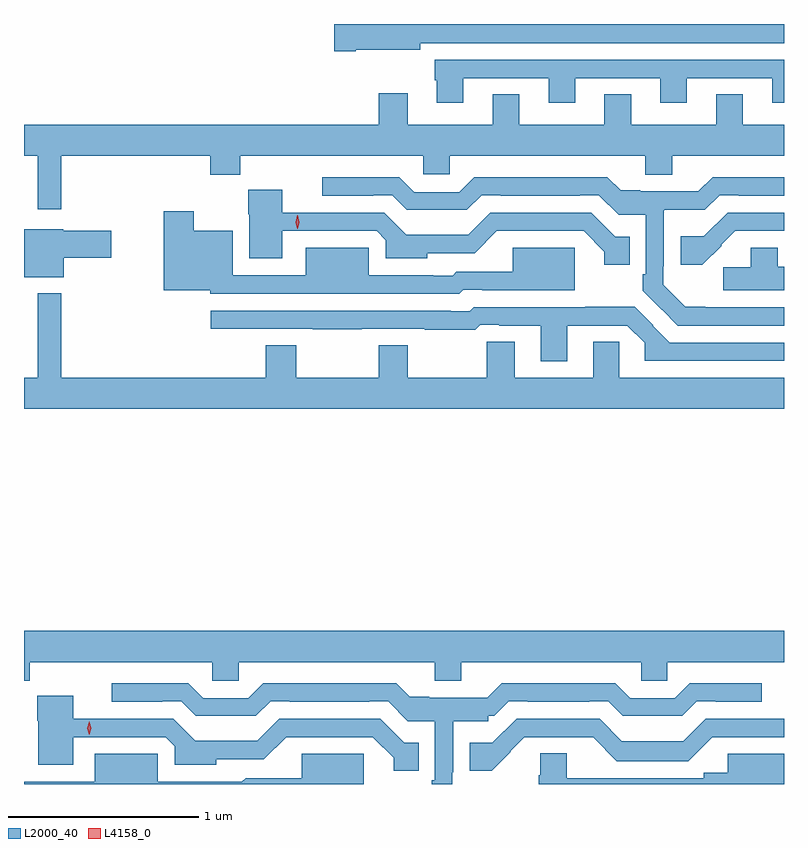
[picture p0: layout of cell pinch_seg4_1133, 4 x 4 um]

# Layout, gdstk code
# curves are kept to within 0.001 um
import gdstk
lib = gdstk.Library(unit=1e-6, precision=1e-09)
def P(c, l, *ps):  # polygons
    for p in ps: c.add(gdstk.Polygon(p, *l))
L2000_40 = (2000, 40)
L4158_0 = (4158, 0)

pinch_seg4_1133 = lib.new_cell('pinch_seg4_1133')
P(pinch_seg4_1133, L2000_40, [(445.186,766.742),(445.525,766.742),(445.525,766.778),(447.44,766.778),(447.44,766.878),(445.074,766.878),(445.074,766.735),(445.186,766.735)],
  [(445.753,766.593),(446.201,766.593),(446.201,766.464),(446.341,766.464),(446.341,766.593),(446.789,766.593),(446.789,766.464),(446.929,766.464),(446.929,766.593),(447.377,766.593),(447.377,766.464),(447.44,766.464),(447.44,766.689),(445.601,766.689),(445.601,766.581),(445.613,766.581),(445.613,766.464),(445.753,766.464)],
  [(445.542,766.086),(445.68,766.086),(445.68,766.184),(446.711,766.184),(446.711,766.085),(446.851,766.085),(446.851,766.184),(447.44,766.184),(447.44,766.348),(447.223,766.348),(447.223,766.508),(447.083,766.508),(447.083,766.348),(446.635,766.348),(446.635,766.508),(446.495,766.508),(446.495,766.348),(446.047,766.348),(446.047,766.508),(445.907,766.508),(445.907,766.348),(445.459,766.348),(445.459,766.513),(445.307,766.513),(445.307,766.348),(443.44,766.348),(443.44,766.184),(443.513,766.184),(443.513,765.903),(443.635,765.903),(443.635,766.184),(444.419,766.184),(444.419,766.085),(444.579,766.085),(444.579,766.184),(445.542,766.184)],
  [(447.44,765.387),(447.025,765.387),(447.025,765.389),(446.921,765.389),(446.805,765.505),(446.805,765.604),(446.808,765.604),(446.808,765.899),(447.024,765.9),(447.102,765.978),(447.202,765.978),(447.202,765.975),(447.44,765.975),(447.44,766.072),(447.064,766.072),(446.989,765.997),(446.683,765.997),(446.683,766.002),(446.58,766.002),(446.51,766.072),(445.81,766.072),(445.731,765.993),(445.494,765.993),(445.415,766.072),(445.011,766.072),(445.011,765.975),(445.277,765.975),(445.277,765.978),(445.377,765.978),(445.455,765.9),(445.77,765.9),(445.848,765.978),(445.948,765.978),(445.948,765.975),(446.366,765.975),(446.366,765.978),(446.466,765.978),(446.571,765.873),(446.712,765.873),(446.712,765.562),(446.697,765.562),(446.697,765.474),(446.882,765.291),(447.44,765.291)],
  [(446.627,765.759),(446.551,765.759),(446.425,765.885),(445.893,765.885),(445.777,765.769),(445.452,765.769),(445.336,765.885),(444.799,765.885),(444.799,766.006),(444.62,766.006),(444.62,765.876),(444.626,765.876),(444.626,765.644),(444.799,765.644),(444.799,765.789),(445.296,765.789),(445.344,765.741),(445.344,765.644),(445.563,765.644),(445.563,765.672),(445.812,765.672),(445.929,765.789),(446.385,765.789),(446.495,765.679),(446.495,765.612),(446.627,765.612)],
  [(445.752,765.48),(445.852,765.48),(445.852,765.477),(446.338,765.476),(446.338,765.7),(446.012,765.7),(446.012,765.573),(445.716,765.573),(445.696,765.553),(445.595,765.553),(445.595,765.555),(445.254,765.555),(445.254,765.7),(444.923,765.7),(444.923,765.555),(444.538,765.555),(444.538,765.79),(444.334,765.79),(444.334,765.892),(444.176,765.892),(444.176,765.476),(444.42,765.476),(444.42,765.459),(445.731,765.459)],
  [(447.112,765.712),(447.109,765.715),(447.183,765.789),(447.44,765.789),(447.44,765.885),(447.143,765.885),(447.018,765.761),(446.897,765.761),(446.897,765.612),(447.011,765.612)],
  [(443.65,765.647),(443.899,765.647),(443.899,765.789),(443.646,765.789),(443.646,765.799),(443.44,765.799),(443.44,765.545),(443.65,765.545)],
  [(447.37,765.477),(447.44,765.477),(447.44,765.601),(447.406,765.601),(447.406,765.7),(447.266,765.7),(447.266,765.599),(447.12,765.599),(447.12,765.476),(447.37,765.476)],
  [(447.44,765.016),(446.574,765.016),(446.574,765.206),(446.435,765.206),(446.435,765.016),(446.023,765.016),(446.023,765.206),(445.876,765.206),(445.876,765.016),(445.461,765.016),(445.461,765.188),(445.306,765.188),(445.306,765.016),(444.873,765.016),(444.873,765.188),(444.713,765.188),(444.713,765.016),(443.635,765.016),(443.635,765.46),(443.513,765.46),(443.513,765.016),(443.44,765.016),(443.44,764.852),(447.44,764.852)],
  [(446.299,765.291),(446.616,765.291),(446.707,765.201),(446.707,765.105),(447.44,765.105),(447.44,765.201),(446.838,765.201),(446.75,765.289),(446.753,765.292),(446.655,765.39),(446.395,765.39),(446.395,765.387),(445.806,765.387),(445.785,765.366),(445.685,765.366),(445.685,765.369),(444.423,765.369),(444.423,765.273),(444.961,765.273),(444.961,765.271),(445.217,765.271),(445.217,765.273),(445.549,765.273),(445.549,765.268),(445.816,765.268),(445.842,765.294),(445.942,765.294),(445.942,765.291),(446.159,765.291),(446.159,765.102),(446.299,765.102)],
  [(443.469,763.52),(444.432,763.52),(444.432,763.422),(444.57,763.422),(444.57,763.52),(445.601,763.52),(445.601,763.421),(445.741,763.421),(445.741,763.52),(446.688,763.52),(446.688,763.422),(446.826,763.422),(446.826,763.52),(447.44,763.52),(447.44,763.684),(443.44,763.684),(443.44,763.421),(443.469,763.421)],
  [(445.695,762.94),(445.698,762.94),(445.698,763.209),(445.884,763.209),(445.884,763.236),(445.914,763.236),(445.992,763.314),(446.092,763.314),(446.092,763.311),(446.414,763.311),(446.414,763.314),(446.514,763.314),(446.592,763.236),(446.904,763.236),(446.982,763.314),(447.082,763.314),(447.082,763.311),(447.322,763.311),(447.322,763.408),(446.944,763.408),(446.865,763.329),(446.631,763.329),(446.552,763.408),(445.954,763.408),(445.879,763.333),(445.573,763.333),(445.573,763.338),(445.47,763.338),(445.4,763.408),(444.7,763.408),(444.621,763.329),(444.384,763.329),(444.305,763.408),(443.901,763.408),(443.901,763.311),(444.167,763.311),(444.167,763.314),(444.267,763.314),(444.345,763.236),(444.66,763.236),(444.738,763.314),(444.838,763.314),(444.838,763.311),(445.256,763.311),(445.256,763.314),(445.356,763.314),(445.461,763.209),(445.602,763.209),(445.602,762.898),(445.587,762.898),(445.587,762.878),(445.695,762.878)],
  [(445.517,763.095),(445.441,763.095),(445.315,763.221),(444.783,763.221),(444.667,763.105),(444.342,763.105),(444.226,763.221),(443.698,763.221),(443.698,763.342),(443.51,763.342),(443.51,763.212),(443.516,763.212),(443.516,762.98),(443.698,762.98),(443.698,763.125),(444.186,763.125),(444.234,763.077),(444.234,762.98),(444.453,762.98),(444.453,763.008),(444.702,763.008),(444.819,763.125),(445.275,763.125),(445.385,763.015),(445.385,762.948),(445.517,762.948)],
  [(446.002,763.048),(445.999,763.051),(446.073,763.125),(446.435,763.124),(446.56,762.998),(446.935,762.998),(447.062,763.125),(447.44,763.125),(447.44,763.221),(447.027,763.221),(446.91,763.104),(446.586,763.104),(446.469,763.221),(446.033,763.221),(445.905,763.094),(445.787,763.094),(445.787,762.948),(445.901,762.948)],
  [(447.44,763.036),(447.143,763.036),(447.143,762.936),(447.018,762.936),(447.018,762.909),(446.296,762.909),(446.296,763.04),(446.156,763.04),(446.156,762.924),(446.149,762.924),(446.149,762.878),(447.44,762.878)],
  [(445.228,763.036),(444.902,763.036),(444.902,762.909),(444.606,762.909),(444.586,762.889),(444.485,762.889),(444.485,762.891),(444.144,762.891),(444.144,763.036),(443.813,763.036),(443.813,762.891),(443.44,762.891),(443.44,762.878),(445.228,762.878)])
P(pinch_seg4_1133, L4158_0, [(444.879,765.8),(444.879,765.8),(444.869,765.835),(444.879,765.871),(444.879,765.871),(444.88,765.871),(444.889,765.835),(444.88,765.8)],
  [(443.783,763.136),(443.783,763.136),(443.773,763.171),(443.783,763.206),(443.783,763.207),(443.783,763.206),(443.793,763.171),(443.783,763.136)])

lib.write_gds('pinch_seg4_1133.gds')
